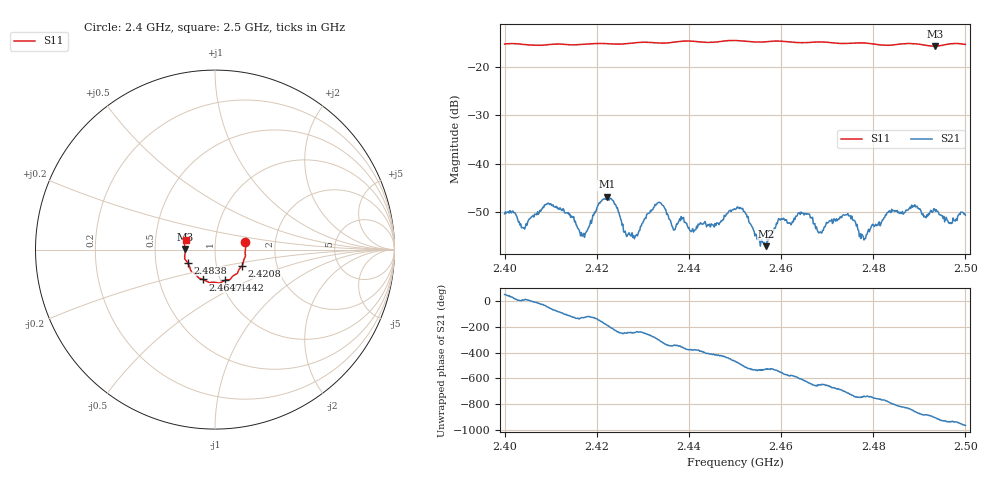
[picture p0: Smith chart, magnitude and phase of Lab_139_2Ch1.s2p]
# Hz S RI R 50
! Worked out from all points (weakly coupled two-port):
!   601 points, 2.4 GHz to 2.5 GHz, reference 50 ohm
!   highest |S21| = -46.84 dB at 2.4222 GHz (marker M1); lowest = -57.1 dB at 2.4568 GHz (marker M2)
!   lowest |S11| = -15.6 dB at 2.4935 GHz (marker M3), VSWR 1.40, Z = 35.8 + j0.176 ohm
!   |S11| at or under -10 dB: start of sweep to end of sweep
!   S12 and S22 are empty: the file has one direction only
!   S11 on the Smith chart (normalised r, x): 2.4 GHz: 1.40, +0.12; 2.4208 GHz: 1.33, -0.24; 2.4442 GHz: 1.05, -0.37; 2.4647 GHz: 0.83, -0.29; 2.4838 GHz: 0.73, -0.11; 2.5 GHz: 0.71, +0.08
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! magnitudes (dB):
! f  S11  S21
! 2.4 GHz  -15.2  -50.4
! 2.4042 GHz  -15.3  -53.3
! 2.4097 GHz  -15.3  -48.4
! 2.4167 GHz  -15.3  -54.3
! 2.4208 GHz  -15.1  -47.9
! 2.4222 GHz  -15.1  -46.8
! 2.4278 GHz  -15.0  -55.3
! 2.4333 GHz  -15.0  -48.1
! 2.4367 GHz  -14.8  -53.7
! 2.4442 GHz  -14.9  -52.6
! 2.45 GHz  -14.5  -49.4
! 2.4568 GHz  -14.7  -57.1
! 2.4595 GHz  -14.6  -51.4
! 2.4647 GHz  -14.9  -50.3
! 2.4667 GHz  -14.8  -51.3
! 2.4685 GHz  -14.8  -54.1
! 2.4745 GHz  -15.1  -50.3
! 2.4778 GHz  -15.0  -55.1
! 2.4833 GHz  -15.5  -50.1
! 2.4838 GHz  -15.4  -50.1
! 2.4935 GHz  -15.6  -49.9
! 2.5 GHz  -15.3  -50.6
